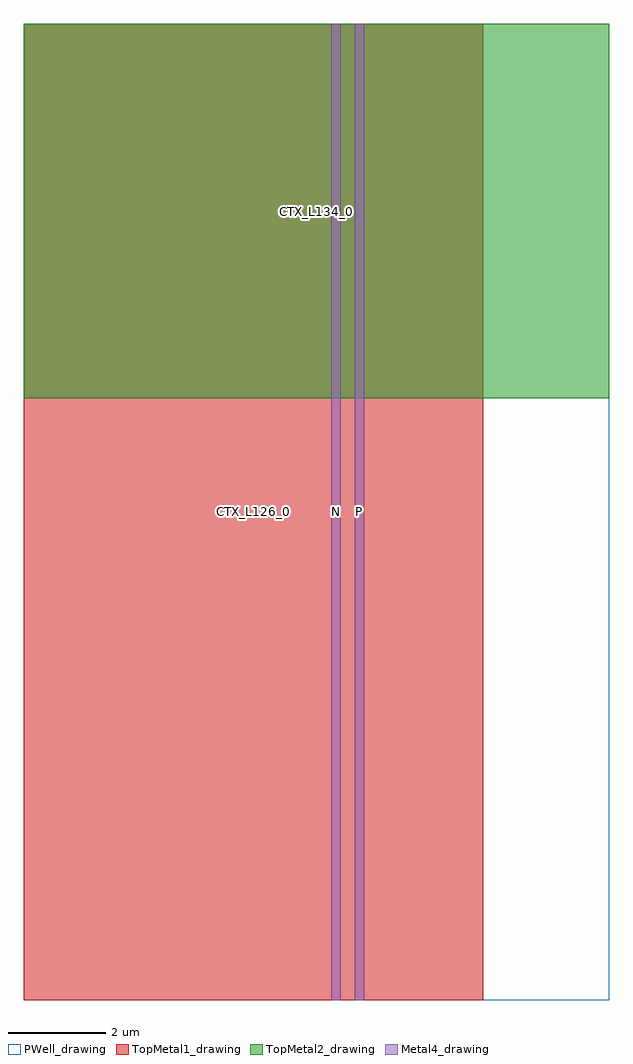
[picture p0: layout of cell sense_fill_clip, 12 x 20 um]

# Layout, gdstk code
import gdstk
lib = gdstk.Library(unit=1e-6, precision=1e-09)
def R(c, l, rs):  # rectangles x0, y0, x1, y1
    for r in rs: c.add(gdstk.rectangle(r[:2], r[2:], *l))
PWell_drawing = (46, 0)
Metal4_drawing = (50, 0)
TopMetal1_drawing = (126, 0)
TopMetal2_drawing = (134, 0)

sense_fill_clip = lib.new_cell('sense_fill_clip')
R(sense_fill_clip, PWell_drawing, [(1016,468,1028,488), (1016,468,1028,488)])
R(sense_fill_clip, Metal4_drawing, [(1022.3,468,1022.5,488), (1022.78,468,1022.98,488)])
R(sense_fill_clip, TopMetal1_drawing, [(1016,468,1025.42,488)])
R(sense_fill_clip, TopMetal2_drawing, [(1016,480.33,1028,488)])
sense_fill_clip.add(gdstk.Label('P', (1022.88,478), layer=50, texttype=25))
sense_fill_clip.add(gdstk.Label('N', (1022.4,478), layer=50, texttype=25))
sense_fill_clip.add(gdstk.Label('CTX_L126_0', (1020.71,478), layer=126, texttype=25))
sense_fill_clip.add(gdstk.Label('CTX_L134_0', (1022,484.165), layer=134, texttype=25))

lib.write_gds('sense_fill_clip.gds')
